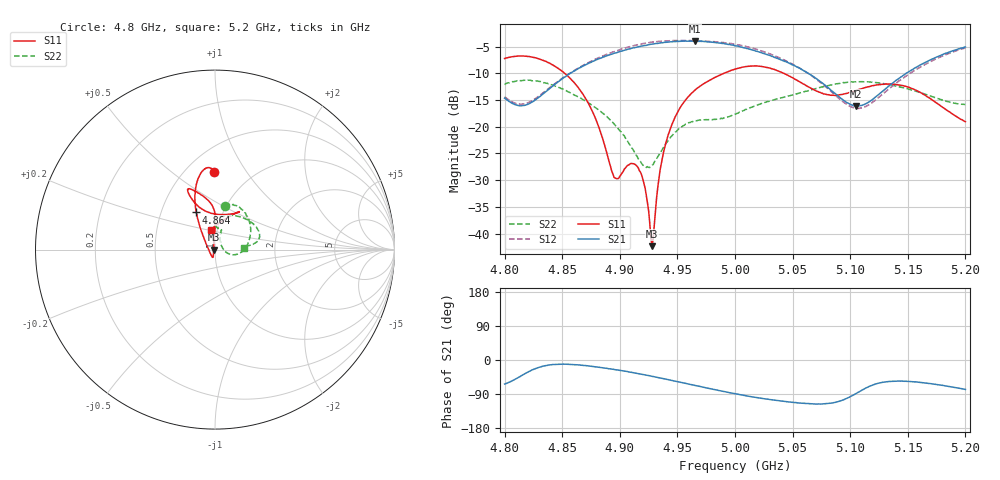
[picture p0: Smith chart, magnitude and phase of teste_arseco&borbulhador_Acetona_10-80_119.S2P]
! Network Analyzer HP8722D
! Hewlett-Packard
! Data name: Linha & Wilkinson
! Saver's name: Rodrigo Anjos
! Comments: Teste da utilização de aquisição
! continua pelo VNA HP8722D
! Time and date: 25/4/2025 16:15
!  Frequency  S11  S21  S12  S22
# HZ  S  MA R 50
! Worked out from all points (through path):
!   401 points, 4.8 GHz to 5.2 GHz, reference 50 ohm
!   highest |S21| = -3.97 dB at 4.965 GHz (marker M1); lowest = -16.1 dB at 5.105 GHz (marker M2)
!   lowest |S11| = -42.3 dB at 4.928 GHz (marker M3), VSWR 1.02, Z = 49.2 - j0.0598 ohm
!   |S11| at or under -10 dB: 4.852 GHz to 4.991 GHz (138.5 MHz wide, 2.81 % of centre); 5.042 GHz to end of sweep
!   |S22| runs from -27.6 to -11.3 dB; largest |S21 - S12| = 1.2
!   S11 on the Smith chart (normalised r, x): 4.8 GHz: 0.68, +0.72; 4.864 GHz: 0.75, +0.33; 5.2 GHz: 0.94, +0.21
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4.8e9  0.4345 90.7  0.1852 -63.4  0.1903 70.0  0.2473 77.0
4.82e9  0.4532 96.9  0.1617 -32.1  0.167 98.6  0.2723 61.7
4.864e9  0.2317 116.8  0.3504 -12.9  0.3529 121.0  0.1896 12.0
4.867e9  0.2087 118.4  0.3636 -13.8  0.3678 120.8  0.1825 8.5
4.88e9  0.1115 128.7  0.4238 -18.4  0.4343 118.2  0.148 -5.5
4.895e9  0.03365 -174.6  0.4859 -25.0  0.5022 113.5  0.1064 -15.7
4.91e9  0.04538 -107.1  0.5399 -32.5  0.5652 107.0  0.06382 -13.8
4.917e9  0.0388 -104.2  0.5627 -36.4  0.589 103.5  0.04837 -0.7
4.922e9  0.02656 -107.9  0.5757 -39.2  0.6023 100.7  0.04248 15.8
4.928e9  0.00765 -175.4  0.5922 -43.0  0.6168 96.9  0.04366 41.4
4.93e9  0.01226 126.1  0.5965 -44.3  0.6206 95.7  0.04685 48.4
4.934e9  0.03304 100.8  0.6047 -46.7  0.6299 93.2  0.05471 58.3
4.939e9  0.06415 93.4  0.6156 -49.8  0.6337 89.9  0.06705 66.1
4.946e9  0.1098 90.0  0.6236 -54.6  0.6389 85.8  0.0839 70.1
4.965e9  0.2183 91.0  0.6331 -67.0  0.6367 73.3  0.114 71.6
5e9  0.3458 109.0  0.5714 -89.0  0.5913 50.8  0.1309 88.2
5.029e9  0.3563 115.1  0.4677 -103.5  0.4852 34.2  0.1721 85.7
5.067e9  0.226 105.2  0.3 -115.8  0.2972 23.7  0.2225 57.1
5.105e9  0.2189 65.3  0.1565 -88.3  0.1486 54.6  0.263 25.6
5.134e9  0.2505 57.2  0.2418 -56.6  0.2273 88.7  0.2478 12.6
5.169e9  0.1851 70.0  0.4193 -62.0  0.4027 84.8  0.1947 6.9
5.2e9  0.1115 100.6  0.5559 -77.8  0.5447 70.1  0.1616 3.7
